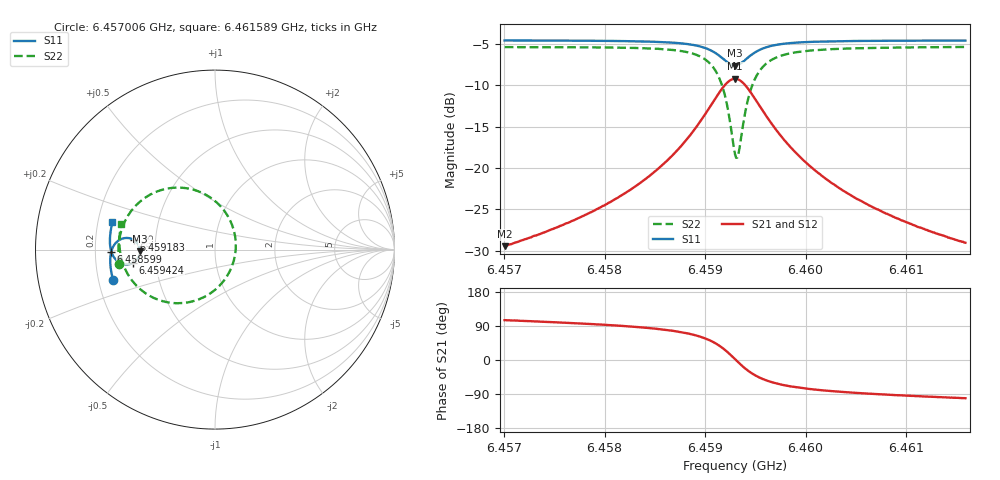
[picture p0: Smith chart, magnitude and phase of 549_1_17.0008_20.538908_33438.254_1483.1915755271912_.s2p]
#  HZ  S  RI  R  50.00
! Rohde & Schwarz Vector Network Analyzer
! Rohde-Schwarz,ZNB20-2Port,1311601062101988,3.16
! Created: UTC 3/20/2024, 11:16:43 PM
! freq[Hz]  re:S11  im:S11  re:S21  im:S21  re:S12  im:S12  re:S22  im:S22
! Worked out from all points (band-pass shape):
!   401 points, 6.457006 GHz to 6.461589 GHz, reference 50 ohm
!   highest |S21| = -9.19 dB at 6.459298 GHz (marker M1); lowest = -29.4 dB at 6.457006 GHz (marker M2)
!   |S21| within 3 dB of the highest: 6.459069 GHz to 6.459527 GHz (458.2 kHz wide, 0.00709 % of centre)
!   lowest |S11| = -7.6 dB at 6.459298 GHz (marker M3), VSWR 2.43, Z = 20.5 - j0.442 ohm
!   |S11| at or under -10 dB: nowhere
!   |S22| runs from -18.7 to -5.3 dB; largest |S21 - S12| = 0.014
!   S11 on the Smith chart (normalised r, x): 6.457006 GHz: 0.26, -0.14; 6.458599 GHz: 0.27, -0.01; 6.459183 GHz: 0.37, +0.05; 6.459424 GHz: 0.37, -0.07; 6.461589 GHz: 0.26, +0.12
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6.4570061e9  -0.5673 -0.17  -0.00875 0.0326  -0.00708 0.0326  -0.5334 -0.0823
6.4577737e9  -0.581 -0.1027  -0.00544 0.0506  -0.0029 0.0501  -0.5383 0.00793
6.458232e9  -0.5836 -0.0565  0.00142 0.0723  0.00479 0.0709  -0.5283 0.082
6.4585414e9  -0.5798 -0.019  0.0147 0.0991  0.0186 0.0964  -0.5039 0.1532
6.4585987e9  -0.5779 -0.0111  0.0189 0.1059  0.023 0.1029  -0.4958 0.1697
6.4588049e9  -0.5648 0.021  0.0468 0.1385  0.0508 0.1336  -0.4437 0.2426
6.4589539e9  -0.5421 0.0472  0.0923 0.1687  0.0954 0.1621  -0.3597 0.3072
6.4590914e9  -0.4983 0.0646  0.1796 0.1854  0.1805 0.178  -0.1996 0.3455
6.459183e9  -0.4536 0.0544  0.2697 0.154  0.27 0.1482  -0.0326 0.2948
6.4592518e9  -0.4244 0.0223  0.3306 0.0819  0.3327 0.0766  0.0835 0.1646
6.4592976e9  -0.4174 -0.00889  0.347 0.0138  0.3506 0.00677  0.1158 0.0369
6.4593205e9  -0.419 -0.0249  0.3448 -0.0218  0.3488 -0.0303  0.1118 -0.0306
6.459332e9  -0.4213 -0.0326  0.3412 -0.039  0.3451 -0.0482  0.1044 -0.0633
6.4593778e9  -0.4369 -0.0588  0.3125 -0.0992  0.3148 -0.1112  0.0462 -0.1773
6.4594236e9  -0.4591 -0.0752  0.2702 -0.1405  0.2694 -0.1539  -0.0395 -0.2526
6.4595153e9  -0.5027 -0.0822  0.1848 -0.1717  0.1787 -0.1835  -0.2099 -0.2988
6.4596642e9  -0.5467 -0.0617  0.0964 -0.1578  0.0878 -0.164  -0.3787 -0.2486
6.4598247e9  -0.5683 -0.0339  0.0514 -0.1295  0.0436 -0.1323  -0.4593 -0.1757
6.4600653e9  -0.581 0.00163  0.0222 -0.0977  0.0163 -0.0983  -0.5072 -0.0928
6.460409e9  -0.5854 0.0426  0.00603 -0.0708  0.002 -0.0703  -0.5288 -0.0133
6.4608329e9  -0.5836 0.0853  -0.00159 -0.052  -0.0044 -0.0512  -0.5326 0.0551
6.4615891e9  -0.5712 0.1523  -0.00666 -0.0347  -0.0083 -0.0337  -0.5213 0.1447
